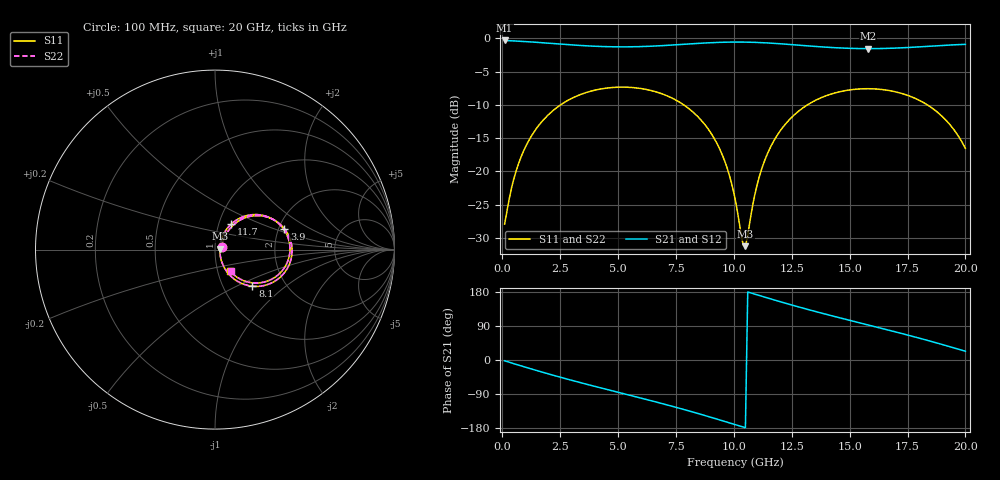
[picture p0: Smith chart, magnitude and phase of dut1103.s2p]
! Touchstone file exported from HFSS 2026.1.0
!  File:  C:/ffzhzh/LocalFiles/Ansys_Project_Files/temp_train_TSV_RDL_1103_1783303622_30076.aedt
!  Generated:  10:20:51 AM Jul  6, 2026
!  Design:  TSV_RDL
!  Project:  temp_train_TSV_RDL_1103_1783303622_30076
! Variables:
!  h_bsmrdl = 3.66um
!  h_ox = 20um
!  h_rdl = 5um
!  h_sub = 76.55um
!  h_tmrdl = 2.15um
!  h_tsv = 76.55um
!  h_via = 3um
!  l_bsmrdl = 923.26um
!  l_sub = 5794.13um
!  l_tmrdl = 627.49um
!  m_sub = 200um
!  pitch = 33.97um
!  r_tsv = 6.48um
!  s_tmrdl = 10um
!  w_bsmrdl = 18.09um
!  w_sub = 500um
!  w_tmrdl = 20.04um
!  x_tsv_center1 = 637.51um
!  x_tsv_center2 = 1578.86um
!  x_tsv_center3 = 2226.39um
!  x_tsv_center4 = 3167.74um
!  x_tsv_center5 = 3815.27um
!  x_tsv_center6 = 4756.62um
# GHz S MA R 50.000000
! Terminal data exported
! Port[1] = TM_RDL1_1_T1
! Port[2] = TM_RDL5_1_T1
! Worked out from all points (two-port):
!   200 points, 100 MHz to 20 GHz, reference 50 ohm
!   highest |S21| = -0.32 dB at 100 MHz (marker M1); lowest = -1.6 dB at 15.8 GHz (marker M2)
!   |S21| within 3 dB of the highest: start of sweep to end of sweep
!   lowest |S11| = -31.2 dB at 10.5 GHz (marker M3), VSWR 1.06, Z = 52.8 + j0.506 ohm
!   |S11| at or under -10 dB: start of sweep to 2.519 GHz; 7.834 GHz to 13.18 GHz (5.347 GHz wide, 50.9 % of centre); 18.35 GHz to end of sweep
!   |S22| runs from -31.0 to -7.3 dB; largest |S21 - S12| = 1.6e-14
!   S11 on the Smith chart (normalised r, x): 100 MHz: 1.08, +0.03; 3.9 GHz: 2.15, +0.60; 8.1 GHz: 1.37, -0.61; 11.7 GHz: 1.14, +0.33; 20 GHz: 1.15, -0.29
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0.1  0.04016 22.8  0.9634 -2.0  0.9634 -2.0  0.04016 22.8
! Gamma 0 0 0 0
! Port Impedance 50 0 50 0
0.6  0.1011 53.8  0.9536 -11.6  0.9536 -11.6  0.1011 53.8
1.2  0.1773 52.8  0.9402 -22.6  0.9402 -22.6  0.1772 52.8
2.2  0.2873 41.0  0.9135 -40.3  0.9135 -40.3  0.2873 41.0
3.5  0.3849 22.6  0.8805 -61.8  0.8805 -61.8  0.3848 22.6
3.9  0.4037 16.8  0.8731 -68.1  0.8731 -68.1  0.4037 16.9
5.3  0.4294 -3.2  0.8624 -89.8  0.8624 -89.8  0.4294 -3.1
6.8  0.3878 -24.9  0.8787 -113.3  0.8787 -113.3  0.3878 -24.9
8.1  0.2922 -44.4  0.9077 -135.0  0.9077 -135.0  0.2922 -44.3
9.3  0.1585 -60.5  0.9313 -156.4  0.9313 -156.4  0.1586 -60.3
9.8  0.09442 -62.6  0.9363 -165.7  0.9363 -165.7  0.09455 -62.2
10.1  0.05641 -56.1  0.9373 -171.2  0.9373 -171.2  0.05667 -55.5
10.4  0.02807 -16.9  0.9367 -176.8  0.9367 -176.8  0.02865 -16.5
10.5  0.0274 10.1  0.9362 -178.7  0.9362 -178.7  0.02803 9.9
11  0.07859 59.4  0.9309 172.0  0.9309 172.0  0.07885 59.0
11.7  0.1662 57.8  0.9174 159.2  0.9174 159.2  0.1664 57.6
12.4  0.2448 49.0  0.8992 146.9  0.8992 146.9  0.2449 48.9
13.4  0.333 34.6  0.8715 130.0  0.8715 130.0  0.333 34.5
15.8  0.418 0.4  0.8363 92.4  0.8363 92.4  0.418 0.4
16.7  0.405 -12.2  0.8408 78.6  0.8408 78.6  0.405 -12.2
18.6  0.2957 -39.1  0.8749 47.8  0.8749 47.8  0.2957 -39.0
20  0.1487 -54.6  0.9009 23.1  0.9009 23.1  0.1488 -54.4
